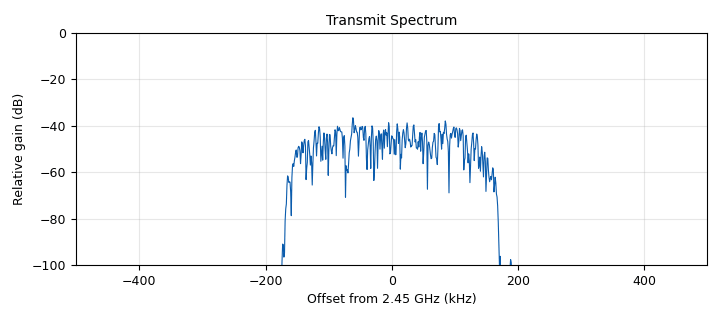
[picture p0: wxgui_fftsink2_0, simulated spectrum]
<?xml version='1.0' encoding='utf-8'?>
<flow_graph>
<block>
<key>options</key>
<param><key>id</key><value>uhd_tx_dpsk</value></param>
<param><key>title</key><value>UHD TX DPSK</value></param>
<param><key>generate_options</key><value>wx_gui</value></param>
<param><key>category</key><value>Custom</value></param>
</block>
<block>
<key>variable</key>
<param><key>id</key><value>samps_per_sym</value></param>
<param><key>value</key><value>4</value></param>
</block>
<block>
<key>variable_slider</key>
<param><key>id</key><value>ampl</value></param>
<param><key>label</key><value>Amplitude</value></param>
<param><key>value</key><value>.1</value></param>
<param><key>min</key><value>0</value></param>
<param><key>max</key><value>1</value></param>
<param><key>num_steps</key><value>100</value></param>
<param><key>style</key><value>wx.SL_HORIZONTAL</value></param>
<param><key>converver</key><value>float_converter</value></param>
</block>
<block>
<key>parameter</key>
<param><key>id</key><value>samp_rate</value></param>
<param><key>label</key><value>Sample Rate</value></param>
<param><key>value</key><value>1e6</value></param>
<param><key>type</key><value>eng_float</value></param>
<param><key>short_id</key><value>s</value></param>
</block>
<block>
<key>parameter</key>
<param><key>id</key><value>freq</value></param>
<param><key>label</key><value>Default Frequency</value></param>
<param><key>value</key><value>2.45e9</value></param>
<param><key>type</key><value>eng_float</value></param>
<param><key>short_id</key><value>f</value></param>
</block>
<block>
<key>variable_slider</key>
<param><key>id</key><value>tun_gain</value></param>
<param><key>label</key><value>UHD Gain</value></param>
<param><key>value</key><value>gain</value></param>
<param><key>min</key><value>0</value></param>
<param><key>max</key><value>20</value></param>
<param><key>num_steps</key><value>100</value></param>
<param><key>style</key><value>wx.SL_HORIZONTAL</value></param>
<param><key>converver</key><value>float_converter</value></param>
</block>
<block>
<key>variable_slider</key>
<param><key>id</key><value>tun_freq</value></param>
<param><key>label</key><value>Freq (Hz)</value></param>
<param><key>value</key><value>freq</value></param>
<param><key>min</key><value>2.4e9</value></param>
<param><key>max</key><value>2.5e9</value></param>
<param><key>num_steps</key><value>100</value></param>
<param><key>style</key><value>wx.SL_HORIZONTAL</value></param>
<param><key>converver</key><value>float_converter</value></param>
</block>
<block>
<key>analog_random_source_x</key>
<param><key>id</key><value>analog_random_source_x_0</value></param>
<param><key>type</key><value>byte</value></param>
<param><key>min</key><value>0</value></param>
<param><key>max</key><value>2**8</value></param>
<param><key>num_samps</key><value>1000</value></param>
<param><key>repeat</key><value>True</value></param>
</block>
<block>
<key>digital_dxpsk_mod</key>
<param><key>id</key><value>digital_dxpsk_mod_0</value></param>
<param><key>type</key><value>dqpsk</value></param>
<param><key>samples_per_symbol</key><value>samps_per_sym</value></param>
<param><key>excess_bw</key><value>0.35</value></param>
<param><key>mod_code</key><value>"gray"</value></param>
<param><key>verbose</key><value>False</value></param>
<param><key>log</key><value>False</value></param>
</block>
<block>
<key>parameter</key>
<param><key>id</key><value>gain</value></param>
<param><key>label</key><value>Default Gain</value></param>
<param><key>value</key><value>0</value></param>
<param><key>type</key><value>eng_float</value></param>
<param><key>short_id</key><value>g</value></param>
</block>
<block>
<key>parameter</key>
<param><key>id</key><value>address</value></param>
<param><key>label</key><value>IP Address</value></param>
<param><key>value</key><value>addr=192.168.10.2</value></param>
<param><key>type</key><value>string</value></param>
<param><key>short_id</key><value>a</value></param>
</block>
<block>
<key>uhd_usrp_sink</key>
<param><key>id</key><value>uhd_usrp_sink_0</value></param>
<param><key>type</key><value>fc32</value></param>
<param><key>dev_addr</key><value>address</value></param>
<param><key>sync</key><value></value></param>
<param><key>clock_rate</key><value>0.0</value></param>
<param><key>samp_rate</key><value>samp_rate</value></param>
<param><key>center_freq0</key><value>tun_freq</value></param>
<param><key>gain0</key><value>tun_gain</value></param>
<param><key>ant0</key><value></value></param>
</block>
<block>
<key>blocks_multiply_const_vxx</key>
<param><key>id</key><value>blocks_multiply_const_vxx_0</value></param>
<param><key>type</key><value>complex</value></param>
<param><key>const</key><value>ampl</value></param>
</block>
<block>
<key>wxgui_fftsink2</key>
<param><key>id</key><value>wxgui_fftsink2_0</value></param>
<param><key>type</key><value>complex</value></param>
<param><key>title</key><value>Transmit Spectrum</value></param>
<param><key>samp_rate</key><value>samp_rate</value></param>
<param><key>baseband_freq</key><value>tun_freq</value></param>
<param><key>y_per_div</key><value>10</value></param>
<param><key>y_divs</key><value>10</value></param>
<param><key>ref_level</key><value>0</value></param>
<param><key>ref_scale</key><value>2</value></param>
<param><key>fft_size</key><value>1024</value></param>
<param><key>fft_rate</key><value>20</value></param>
<param><key>peak_hold</key><value>False</value></param>
<param><key>average</key><value>False</value></param>
<param><key>avg_alpha</key><value>0</value></param>
<param><key>win</key><value>None</value></param>
<param><key>freqvar</key><value>None</value></param>
</block>
<connection><source_block_id>analog_random_source_x_0</source_block_id><sink_block_id>digital_dxpsk_mod_0</sink_block_id><source_key>0</source_key><sink_key>0</sink_key></connection>
<connection><source_block_id>blocks_multiply_const_vxx_0</source_block_id><sink_block_id>wxgui_fftsink2_0</sink_block_id><source_key>0</source_key><sink_key>0</sink_key></connection>
<connection><source_block_id>blocks_multiply_const_vxx_0</source_block_id><sink_block_id>uhd_usrp_sink_0</sink_block_id><source_key>0</source_key><sink_key>0</sink_key></connection>
<connection><source_block_id>digital_dxpsk_mod_0</source_block_id><sink_block_id>blocks_multiply_const_vxx_0</sink_block_id><source_key>0</source_key><sink_key>0</sink_key></connection>
</flow_graph>
